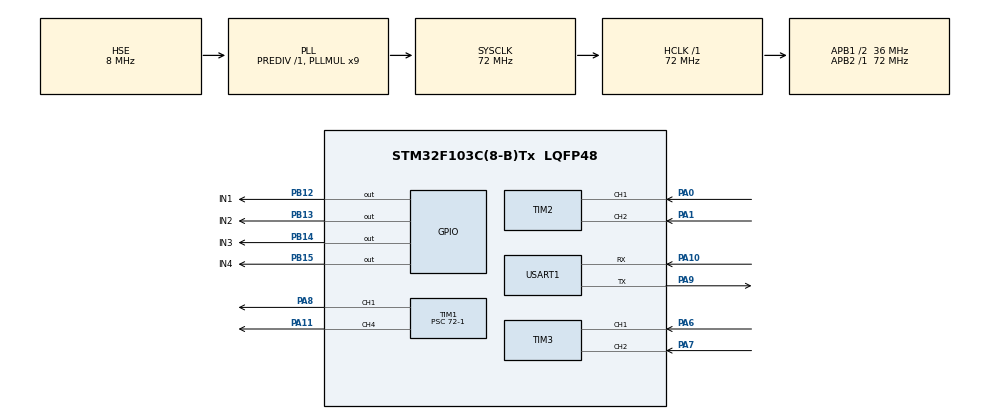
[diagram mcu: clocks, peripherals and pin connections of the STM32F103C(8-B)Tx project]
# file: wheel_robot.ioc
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Mcu.Family=STM32F1
Mcu.Name=STM32F103C(8-B)Tx
Mcu.Package=LQFP48
NVIC.PriorityGroup=NVIC_PRIORITYGROUP_4
NVIC.TIM1_UP_IRQn=true\:0\:0\:false\:false\:true\:true\:true\:true
NVIC.TIM2_IRQn=true\:0\:0\:false\:false\:true\:true\:true\:true
NVIC.TIM3_IRQn=true\:0\:0\:false\:false\:true\:true\:true\:true
NVIC.USART1_IRQn=true\:0\:0\:false\:false\:true\:true\:true\:true
PA0-WKUP.Signal=S_TIM2_CH1_ETR
PA1.Signal=S_TIM2_CH2
PA10.Mode=Asynchronous
PA10.Signal=USART1_RX
PA11.Signal=S_TIM1_CH4
PA6.Signal=S_TIM3_CH1
PA7.Signal=S_TIM3_CH2
PA8.Signal=S_TIM1_CH1
PA9.Mode=Asynchronous
PA9.Signal=USART1_TX
PB12.GPIO_Label=IN1
PB12.Signal=GPIO_Output
PB13.GPIO_Label=IN2
PB13.Signal=GPIO_Output
PB14.GPIO_Label=IN3
PB14.Signal=GPIO_Output
PB15.GPIO_Label=IN4
PB15.Signal=GPIO_Output
PD0-OSC_IN.Mode=HSE-External-Oscillator
PD0-OSC_IN.Signal=RCC_OSC_IN
PD1-OSC_OUT.Mode=HSE-External-Oscillator
PD1-OSC_OUT.Signal=RCC_OSC_OUT
ProjectManager.HeapSize=0x200
ProjectManager.StackSize=0x400
ProjectManager.TargetToolchain=STM32CubeIDE
RCC.AHBFreq_Value=72000000
RCC.APB1CLKDivider=RCC_HCLK_DIV2
RCC.APB1Freq_Value=36000000
RCC.APB1TimFreq_Value=72000000
RCC.APB2Freq_Value=72000000
RCC.APB2TimFreq_Value=72000000
RCC.HCLKFreq_Value=72000000
RCC.PLLMUL=RCC_PLL_MUL9
RCC.PLLSourceVirtual=RCC_PLLSOURCE_HSE
RCC.SYSCLKFreq_VALUE=72000000
RCC.SYSCLKSource=RCC_SYSCLKSOURCE_PLLCLK
RCC.USBFreq_Value=72000000
SH.S_TIM1_CH1.0=TIM1_CH1,PWM Generation1 CH1
SH.S_TIM1_CH4.0=TIM1_CH4,PWM Generation4 CH4
SH.S_TIM2_CH1_ETR.0=TIM2_CH1,Encoder_Interface
SH.S_TIM2_CH2.0=TIM2_CH2,Encoder_Interface
SH.S_TIM3_CH1.0=TIM3_CH1,Encoder_Interface
SH.S_TIM3_CH2.0=TIM3_CH2,Encoder_Interface
TIM1.Channel-PWM\ Generation1\ CH1=TIM_CHANNEL_1
TIM1.Channel-PWM\ Generation4\ CH4=TIM_CHANNEL_4
TIM1.Period=1000
TIM1.Prescaler=72-1
TIM2.EncoderMode=TIM_ENCODERMODE_TI12
TIM3.EncoderMode=TIM_ENCODERMODE_TI12
USART1.VirtualMode=VM_ASYNC
board=custom

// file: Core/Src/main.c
/* USER CODE BEGIN Header */
/**
 ******************************************************************************
 * @file           : main.c
 * @brief          : Main program body
 ******************************************************************************
 * @attention
 *
 * Copyright (c) 2024 STMicroelectronics.
 * All rights reserved.
 *
 * This software is licensed under terms that can be found in the LICENSE file
 * in the root directory of this software component.
 * If no LICENSE file comes with this software, it is provided AS-IS.
 *
 ******************************************************************************
 */
/* USER CODE END Header */
#include "main.h"

/* USER CODE BEGIN Includes */
#include "commands.h"
#include "diff_controller.h"
#include "motor_driver.h"
#include "string.h"
#include "stdio.h"
#include <stdlib.h>
/* USER CODE END Includes */

TIM_HandleTypeDef htim1;
TIM_HandleTypeDef htim2;
TIM_HandleTypeDef htim3;

UART_HandleTypeDef huart1;

/* USER CODE BEGIN PV */
SetPointInfo leftPID, rightPID;
//uint32_t encoderLeft = 0;
//uint32_t encoderRight = 0;
int speedLeft, speedRight;
uint8_t moving = 0;
uint8_t rx_buffer[30];
uint8_t tx_buffer[30];
uint8_t flag_value = 0;
uint8_t flag_moving = 0;

// A pair of varibles to help parse serial commands (thanks Fergs)
uint8_t rx_arg = 0;
uint8_t rx_index = 0;

// Variable to hold an input character
uint8_t rx_data;

// Variable to hold the current single-character command
uint8_t rx_cmd;

// Character arrays to hold the first and second arguments
uint8_t rx_argv1[20];
uint8_t rx_argv2[20];
/* USER CODE END PV */

void SystemClock_Config(void);
static void MX_GPIO_Init(void);
static void MX_TIM1_Init(void);
static void MX_TIM2_Init(void);
static void MX_TIM3_Init(void);
static void MX_USART1_UART_Init(void);

/* USER CODE BEGIN 0 */
void HAL_TIM_IC_CaptureCallback(TIM_HandleTypeDef *htim) {
	if (htim == &htim2) {
		leftPID.Encoder = __HAL_TIM_GET_COUNTER(htim);
	} else if (htim == &htim3) {
		rightPID.Encoder = __HAL_TIM_GET_COUNTER(htim);
	}
}
void HAL_UART_RxCpltCallback(UART_HandleTypeDef *huart) {
	if (huart->Instance == huart1.Instance) {
//		if (!rx_index) {
//			for (int i = 0; i < 30; i++) {
//				rx_buffer[i] = '\0';
//			}
//		}
		if (rx_data == '\n' || rx_data == '\r' || rx_data == '/') {
			if (rx_arg == 1)
				rx_argv1[rx_index] = '\0';
			else if (rx_arg == 2)
				rx_argv2[rx_index] = '\0';
			flag_value = 1;
			rx_index = 0;
		} else if (rx_data == ' ') {
			if (rx_arg == 0)
				rx_arg = 1;
			else if (rx_arg == 1) {
				rx_argv1[rx_index] = '\0';
				rx_arg = 2;
				rx_index = 0;
			}
		} else {
			if (rx_arg == 0) {
				// The first arg is the single-letter command
				rx_cmd = rx_data;
			} else if (rx_arg == 1) {
				// Subsequent arguments can be more than one character
				rx_argv1[rx_index] = rx_data;
				rx_index++;
			} else if (rx_arg == 2) {
				rx_argv2[rx_index] = rx_data;
				rx_index++;
			}
		}

		HAL_UART_Receive_IT(&huart1, &rx_data, 1);
	}
}
uint8_t calculate_crc8(uint8_t *pcBlock, uint8_t len) {
	uint8_t crc = 0xFF;
	uint8_t i;

	while (len--) {
		crc ^= *pcBlock++;

		for (i = 0; i < 8; i++)
			crc = crc & 0x80 ? (crc << 1) ^ CRC8_POLYNOMIAL : crc << 1;
	}

	return crc;
}
void resetCommand() {
	rx_cmd = '\0';
	memset(rx_argv1, 0, sizeof(rx_argv1));
	memset(rx_argv2, 0, sizeof(rx_argv2));
	rx_arg = 0;
	rx_index = 0;
}
void runCommand() {
	int i = 0;
	char *p = (char*) rx_argv1;
	char *str;
	int pid_args[4];
	int rx_arg1 = atoi((char*) rx_argv1);
	int rx_arg2 = atoi((char*) rx_argv2);
	//sprintf((char*)tx_buffer,"%c %d %d\n",rx_cmd,rx_arg1,rx_arg2);
//	HAL_UART_Transmit(&huart1, tx_buffer, strlen((char*)tx_buffer), HAL_MAX_DELAY);
	switch (rx_cmd) {
	case READ_ENCODERS:
//		sprintf((char*) tx_buffer, "%ld %ld\n", leftPID.Encoder,
//				rightPID.Encoder);
		tx_buffer[0] = SEND_ENCODERS;
		tx_buffer[1] = leftPID.Encoder & 0xFF;
		tx_buffer[2] = (leftPID.Encoder >> 8) & 0xFF;

		tx_buffer[3] = rightPID.Encoder & 0xFF;
		tx_buffer[4] = (rightPID.Encoder >> 8) & 0xFF;

		tx_buffer[5] = calculate_crc8(tx_buffer, 5);

		HAL_UART_Transmit(&huart1, tx_buffer, 6, HAL_MAX_DELAY);
		break;
	case READ_SPEED:
//		sprintf((char*) tx_buffer, "%ld %ld\n", leftPID.speed, rightPID.speed);
		tx_buffer[0] = SEND_SPEED;
		tx_buffer[1] = (leftPID.speed >> 8) & 0xFF;
		tx_buffer[2] = leftPID.speed & 0xFF;

		tx_buffer[3] = (rightPID.speed >> 8) & 0xFF;
		tx_buffer[4] = rightPID.speed & 0xFF;

		tx_buffer[5] = calculate_crc8(tx_buffer, 5);

		HAL_UART_Transmit(&huart1, tx_buffer, 6, HAL_MAX_DELAY);
		break;
	case RESET_ENCODERS:
		__HAL_TIM_SET_COUNTER(&htim2, 0x00);
		__HAL_TIM_SET_COUNTER(&htim3, 0x00);
		initPID(&leftPID);
		initPID(&rightPID);
		if (__HAL_TIM_GET_COUNTER(&htim2) == 0x00 && __HAL_TIM_GET_COUNTER(&htim3) == 0x00)
			HAL_UART_Transmit(&huart1, (uint8_t*) "OK\n", 3, HAL_MAX_DELAY);
		else
			HAL_UART_Transmit(&huart1, (uint8_t*) "ERROR\n", 6, HAL_MAX_DELAY);
		break;
	case MOTOR_SPEEDS:
		if (rx_arg1 == 0 && rx_arg2 == 0) {
			flag_moving = 1;
//			setMotorSpeeds(0, 0);
//			resetPID(&leftPID);
//			resetPID(&rightPID);
//			moving = 0;
		} else
			moving = 1;
		leftPID.TargetTicksPerFrame = rx_arg1 * PID_TIME / 1000;
		rightPID.TargetTicksPerFrame = rx_arg2 * PID_TIME / 1000;
		break;
	case MOTOR_RAW_PWM:
		resetPID(&leftPID);
		resetPID(&rightPID);
		moving = 0;
		setMotorSpeeds(rx_arg1, rx_arg2);
		break;
	case UPDATE_PID:
		while (*(str = strtok_r(p, ":", &p)) != '\0') {
			pid_args[i] = atoi(str);
			i++;
		}
		if (i == 4) {
			leftPID.Kp = pid_args[0];
			leftPID.Ki = pid_args[1] * PID_TIME / 1000;
			leftPID.Kd = pid_args[2] * 1000 / PID_TIME;
			leftPID.Ko = pid_args[3];

			rightPID.Kp = pid_args[0];
			rightPID.Ki = pid_args[1] * PID_TIME / 1000;
			rightPID.Kd = pid_args[2] * 1000 / PID_TIME;
			rightPID.Ko = pid_args[3];

			HAL_UART_Transmit(&huart1, (uint8_t*) "PID'S SET!\n", 11,
			HAL_MAX_DELAY);
		} else {
			HAL_UART_Transmit(&huart1, (uint8_t*) "ERROR!\n", 7, HAL_MAX_DELAY);
		}
		break;
	case READ_PID:
		sprintf((char*) tx_buffer, "Left PID: %d %d %d %d\n", leftPID.Kp,
				leftPID.Ki, leftPID.Kd, leftPID.Ko);
		HAL_UART_Transmit(&huart1, tx_buffer, strlen((char*) tx_buffer),
		HAL_MAX_DELAY);

		sprintf((char*) tx_buffer, "Right PID: %d %d %d %d\n", leftPID.Kp,
				leftPID.Ki, leftPID.Kd, leftPID.Ko);
		HAL_UART_Transmit(&huart1, tx_buffer, strlen((char*) tx_buffer),
		HAL_MAX_DELAY);
		break;
	default:
		break;
	}
}

/* USER CODE END 0 */

int main(void)
{

  /* MCU Configuration--------------------------------------------------------*/

  /* Reset of all peripherals, Initializes the Flash interface and the Systick. */
  HAL_Init();

  /* Configure the system clock */
  SystemClock_Config();

  /* Initialize all configured peripherals */
  MX_GPIO_Init();
  MX_TIM1_Init();
  MX_TIM2_Init();
  MX_TIM3_Init();
  MX_USART1_UART_Init();
  /* USER CODE BEGIN 2 */
//	HAL_GPIO_WritePin(IN1_GPIO_Port, IN1_Pin, 1);
//	HAL_GPIO_WritePin(IN2_GPIO_Port, IN2_Pin, 0);
	HAL_UART_Receive_IT(&huart1, &rx_data, 1);
	HAL_TIM_PWM_Start(&htim1, TIM_CHANNEL_1);
	HAL_TIM_PWM_Start(&htim1, TIM_CHANNEL_4);
	HAL_TIM_Encoder_Start_IT(&htim2, TIM_CHANNEL_ALL);
	HAL_TIM_Encoder_Start_IT(&htim3, TIM_CHANNEL_ALL);

	initPID(&leftPID);
	initPID(&rightPID);
	HAL_Delay(500);
	resetPID(&leftPID);
	resetPID(&rightPID);

//	__HAL_TIM_SET_COMPARE(&htim1, TIM_CHANNEL_1, 250);
//	__HAL_TIM_SET_COMPARE(&htim1, TIM_CHANNEL_4, 500);

  /* USER CODE END 2 */

  /* Infinite loop */
	while (1) {

    /* USER CODE BEGIN 3 */
		if (flag_value) {
			runCommand();
			resetCommand();
			flag_value = 0;
		}
	}
  /* USER CODE END 3 */
}

void SystemClock_Config(void)
{
  RCC_OscInitTypeDef RCC_OscInitStruct = {0};
  RCC_ClkInitTypeDef RCC_ClkInitStruct = {0};

  /** Initializes the RCC Oscillators according to the specified parameters
  * in the RCC_OscInitTypeDef structure.
  */
  RCC_OscInitStruct.OscillatorType = RCC_OSCILLATORTYPE_HSE;
  RCC_OscInitStruct.HSEState = RCC_HSE_ON;
  RCC_OscInitStruct.HSEPredivValue = RCC_HSE_PREDIV_DIV1;
  RCC_OscInitStruct.HSIState = RCC_HSI_ON;
  RCC_OscInitStruct.PLL.PLLState = RCC_PLL_ON;
  RCC_OscInitStruct.PLL.PLLSource = RCC_PLLSOURCE_HSE;
  RCC_OscInitStruct.PLL.PLLMUL = RCC_PLL_MUL9;
  if (HAL_RCC_OscConfig(&RCC_OscInitStruct) != HAL_OK)
  {
    Error_Handler();
  }

  /** Initializes the CPU, AHB and APB buses clocks
  */
  RCC_ClkInitStruct.ClockType = RCC_CLOCKTYPE_HCLK|RCC_CLOCKTYPE_SYSCLK
                              |RCC_CLOCKTYPE_PCLK1|RCC_CLOCKTYPE_PCLK2;
  RCC_ClkInitStruct.SYSCLKSource = RCC_SYSCLKSOURCE_PLLCLK;
  RCC_ClkInitStruct.AHBCLKDivider = RCC_SYSCLK_DIV1;
  RCC_ClkInitStruct.APB1CLKDivider = RCC_HCLK_DIV2;
  RCC_ClkInitStruct.APB2CLKDivider = RCC_HCLK_DIV1;

  if (HAL_RCC_ClockConfig(&RCC_ClkInitStruct, FLASH_LATENCY_2) != HAL_OK)
  {
    Error_Handler();
  }
}

static void MX_TIM1_Init(void)
{

  TIM_MasterConfigTypeDef sMasterConfig = {0};
  TIM_OC_InitTypeDef sConfigOC = {0};
  TIM_BreakDeadTimeConfigTypeDef sBreakDeadTimeConfig = {0};

  htim1.Instance = TIM1;
  htim1.Init.Prescaler = 72-1;
  htim1.Init.CounterMode = TIM_COUNTERMODE_UP;
  htim1.Init.Period = 1000;
  htim1.Init.ClockDivision = TIM_CLOCKDIVISION_DIV1;
  htim1.Init.RepetitionCounter = 0;
  htim1.Init.AutoReloadPreload = TIM_AUTORELOAD_PRELOAD_DISABLE;
  if (HAL_TIM_PWM_Init(&htim1) != HAL_OK)
  {
    Error_Handler();
  }
  sMasterConfig.MasterOutputTrigger = TIM_TRGO_RESET;
  sMasterConfig.MasterSlaveMode = TIM_MASTERSLAVEMODE_DISABLE;
  if (HAL_TIMEx_MasterConfigSynchronization(&htim1, &sMasterConfig) != HAL_OK)
  {
    Error_Handler();
  }
  sConfigOC.OCMode = TIM_OCMODE_PWM1;
  sConfigOC.Pulse = 0;
  sConfigOC.OCPolarity = TIM_OCPOLARITY_HIGH;
  sConfigOC.OCNPolarity = TIM_OCNPOLARITY_HIGH;
  sConfigOC.OCFastMode = TIM_OCFAST_DISABLE;
  sConfigOC.OCIdleState = TIM_OCIDLESTATE_RESET;
  sConfigOC.OCNIdleState = TIM_OCNIDLESTATE_RESET;
  if (HAL_TIM_PWM_ConfigChannel(&htim1, &sConfigOC, TIM_CHANNEL_1) != HAL_OK)
  {
    Error_Handler();
  }
  if (HAL_TIM_PWM_ConfigChannel(&htim1, &sConfigOC, TIM_CHANNEL_4) != HAL_OK)
  {
    Error_Handler();
  }
  sBreakDeadTimeConfig.OffStateRunMode = TIM_OSSR_DISABLE;
  sBreakDeadTimeConfig.OffStateIDLEMode = TIM_OSSI_DISABLE;
  sBreakDeadTimeConfig.LockLevel = TIM_LOCKLEVEL_OFF;
  sBreakDeadTimeConfig.DeadTime = 0;
  sBreakDeadTimeConfig.BreakState = TIM_BREAK_DISABLE;
  sBreakDeadTimeConfig.BreakPolarity = TIM_BREAKPOLARITY_HIGH;
  sBreakDeadTimeConfig.AutomaticOutput = TIM_AUTOMATICOUTPUT_DISABLE;
  if (HAL_TIMEx_ConfigBreakDeadTime(&htim1, &sBreakDeadTimeConfig) != HAL_OK)
  {
    Error_Handler();
  }
  HAL_TIM_MspPostInit(&htim1);

}

static void MX_TIM2_Init(void)
{

  TIM_Encoder_InitTypeDef sConfig = {0};
  TIM_MasterConfigTypeDef sMasterConfig = {0};

  htim2.Instance = TIM2;
  htim2.Init.Prescaler = 0;
  htim2.Init.CounterMode = TIM_COUNTERMODE_UP;
  htim2.Init.Period = 65535;
  htim2.Init.ClockDivision = TIM_CLOCKDIVISION_DIV1;
  htim2.Init.AutoReloadPreload = TIM_AUTORELOAD_PRELOAD_DISABLE;
  sConfig.EncoderMode = TIM_ENCODERMODE_TI12;
  sConfig.IC1Polarity = TIM_ICPOLARITY_RISING;
  sConfig.IC1Selection = TIM_ICSELECTION_DIRECTTI;
  sConfig.IC1Prescaler = TIM_ICPSC_DIV1;
  sConfig.IC1Filter = 0;
  sConfig.IC2Polarity = TIM_ICPOLARITY_RISING;
  sConfig.IC2Selection = TIM_ICSELECTION_DIRECTTI;
  sConfig.IC2Prescaler = TIM_ICPSC_DIV1;
  sConfig.IC2Filter = 0;
  if (HAL_TIM_Encoder_Init(&htim2, &sConfig) != HAL_OK)
  {
    Error_Handler();
  }
  sMasterConfig.MasterOutputTrigger = TIM_TRGO_RESET;
  sMasterConfig.MasterSlaveMode = TIM_MASTERSLAVEMODE_DISABLE;
  if (HAL_TIMEx_MasterConfigSynchronization(&htim2, &sMasterConfig) != HAL_OK)
  {
    Error_Handler();
  }

}

static void MX_TIM3_Init(void)
{

  TIM_Encoder_InitTypeDef sConfig = {0};
  TIM_MasterConfigTypeDef sMasterConfig = {0};

  htim3.Instance = TIM3;
  htim3.Init.Prescaler = 0;
  htim3.Init.CounterMode = TIM_COUNTERMODE_UP;
  htim3.Init.Period = 65535;
  htim3.Init.ClockDivision = TIM_CLOCKDIVISION_DIV1;
  htim3.Init.AutoReloadPreload = TIM_AUTORELOAD_PRELOAD_DISABLE;
  sConfig.EncoderMode = TIM_ENCODERMODE_TI12;
  sConfig.IC1Polarity = TIM_ICPOLARITY_RISING;
  sConfig.IC1Selection = TIM_ICSELECTION_DIRECTTI;
  sConfig.IC1Prescaler = TIM_ICPSC_DIV1;
  sConfig.IC1Filter = 0;
  sConfig.IC2Polarity = TIM_ICPOLARITY_RISING;
  sConfig.IC2Selection = TIM_ICSELECTION_DIRECTTI;
  sConfig.IC2Prescaler = TIM_ICPSC_DIV1;
  sConfig.IC2Filter = 0;
  if (HAL_TIM_Encoder_Init(&htim3, &sConfig) != HAL_OK)
  {
    Error_Handler();
  }
  sMasterConfig.MasterOutputTrigger = TIM_TRGO_RESET;
  sMasterConfig.MasterSlaveMode = TIM_MASTERSLAVEMODE_DISABLE;
  if (HAL_TIMEx_MasterConfigSynchronization(&htim3, &sMasterConfig) != HAL_OK)
  {
    Error_Handler();
  }

}

static void MX_USART1_UART_Init(void)
{

  huart1.Instance = USART1;
  huart1.Init.BaudRate = 115200;
  huart1.Init.WordLength = UART_WORDLENGTH_8B;
  huart1.Init.StopBits = UART_STOPBITS_1;
  huart1.Init.Parity = UART_PARITY_NONE;
  huart1.Init.Mode = UART_MODE_TX_RX;
  huart1.Init.HwFlowCtl = UART_HWCONTROL_NONE;
  huart1.Init.OverSampling = UART_OVERSAMPLING_16;
  if (HAL_UART_Init(&huart1) != HAL_OK)
  {
    Error_Handler();
  }

}

static void MX_GPIO_Init(void)
{
  GPIO_InitTypeDef GPIO_InitStruct = {0};

  /* GPIO Ports Clock Enable */
  __HAL_RCC_GPIOD_CLK_ENABLE();
  __HAL_RCC_GPIOA_CLK_ENABLE();
  __HAL_RCC_GPIOB_CLK_ENABLE();

  /*Configure GPIO pin Output Level */
  HAL_GPIO_WritePin(GPIOB, IN1_Pin|IN2_Pin|IN3_Pin|IN4_Pin, GPIO_PIN_RESET);

  /*Configure GPIO pins : IN1_Pin IN2_Pin IN3_Pin IN4_Pin */
  GPIO_InitStruct.Pin = IN1_Pin|IN2_Pin|IN3_Pin|IN4_Pin;
  GPIO_InitStruct.Mode = GPIO_MODE_OUTPUT_PP;
  GPIO_InitStruct.Pull = GPIO_NOPULL;
  GPIO_InitStruct.Speed = GPIO_SPEED_FREQ_LOW;
  HAL_GPIO_Init(GPIOB, &GPIO_InitStruct);

}

void Error_Handler(void)
{
	__disable_irq();
	while (1) {
	}
}
